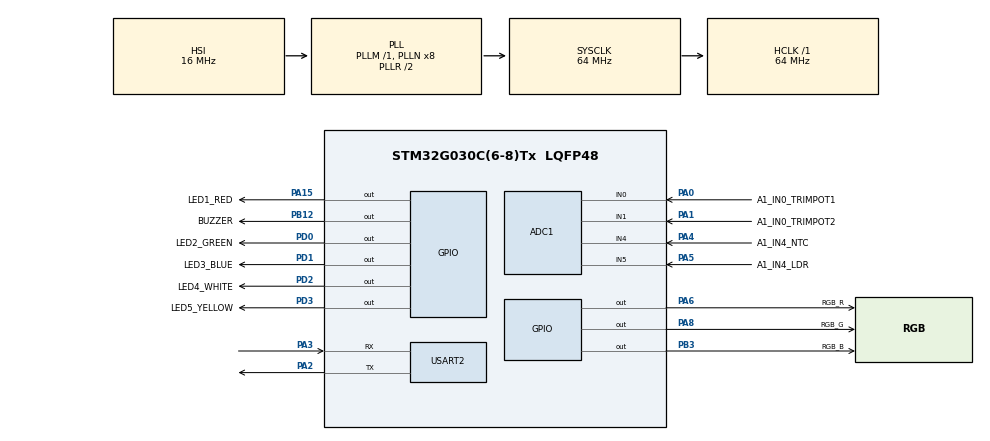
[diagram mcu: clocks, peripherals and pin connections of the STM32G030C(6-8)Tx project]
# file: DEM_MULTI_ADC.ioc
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ADC1.Channel-0\#ChannelRegularConversion=ADC_CHANNEL_0
ADC1.Channel-1\#ChannelRegularConversion=ADC_CHANNEL_1
ADC1.Channel-2\#ChannelRegularConversion=ADC_CHANNEL_4
ADC1.Channel-3\#ChannelRegularConversion=ADC_CHANNEL_5
ADC1.ClockPrescaler=ADC_CLOCK_SYNC_PCLK_DIV4
ADC1.ContinuousConvMode=DISABLE
ADC1.NbrOfConversion=4
ADC1.NbrOfConversionFlag=1
ADC1.Rank-0\#ChannelRegularConversion=1
ADC1.Rank-1\#ChannelRegularConversion=2
ADC1.Rank-2\#ChannelRegularConversion=3
ADC1.Rank-3\#ChannelRegularConversion=4
ADC1.SamplingTime-0\#ChannelRegularConversion=ADC_SAMPLINGTIME_COMMON_1
ADC1.SamplingTime-1\#ChannelRegularConversion=ADC_SAMPLINGTIME_COMMON_1
ADC1.SamplingTime-2\#ChannelRegularConversion=ADC_SAMPLINGTIME_COMMON_1
ADC1.SamplingTime-3\#ChannelRegularConversion=ADC_SAMPLINGTIME_COMMON_1
ADC1.SamplingTimeCommon1=ADC_SAMPLETIME_79CYCLES_5
ADC1.SamplingTimeCommon2=ADC_SAMPLETIME_79CYCLES_5
ADC1.SelectedChannel=ADC_CHANNEL_0|ADC_CHANNEL_1|ADC_CHANNEL_4|ADC_CHANNEL_5
ADC1.master=1
Dma.ADC1.0.Direction=DMA_PERIPH_TO_MEMORY
Dma.ADC1.0.EventEnable=DISABLE
Dma.ADC1.0.Instance=DMA1_Channel1
Dma.ADC1.0.MemDataAlignment=DMA_MDATAALIGN_HALFWORD
Dma.ADC1.0.MemInc=DMA_MINC_ENABLE
Dma.ADC1.0.Mode=DMA_NORMAL
Dma.ADC1.0.PeriphDataAlignment=DMA_PDATAALIGN_HALFWORD
Dma.ADC1.0.PeriphInc=DMA_PINC_DISABLE
Dma.ADC1.0.Polarity=HAL_DMAMUX_REQ_GEN_RISING
Dma.ADC1.0.Priority=DMA_PRIORITY_LOW
Dma.ADC1.0.RequestNumber=1
Dma.ADC1.0.SignalID=NONE
Dma.ADC1.0.SyncEnable=DISABLE
Dma.ADC1.0.SyncPolarity=HAL_DMAMUX_SYNC_NO_EVENT
Dma.ADC1.0.SyncRequestNumber=1
Dma.ADC1.0.SyncSignalID=NONE
Dma.Request0=ADC1
Mcu.Family=STM32G0
Mcu.Name=STM32G030C(6-8)Tx
Mcu.Package=LQFP48
NVIC.DMA1_Channel1_IRQn=true\:0\:0\:false\:false\:true\:false\:true\:true
PA0.GPIO_Label=A1_IN0_TRIMPOT1
PA0.Mode=IN0
PA0.Signal=ADC1_IN0
PA1.GPIO_Label=A1_IN0_TRIMPOT2
PA1.Mode=IN1
PA1.Signal=ADC1_IN1
PA13.Mode=Serial_Wire
PA13.Signal=SYS_SWDIO
PA14-BOOT0.Mode=Serial_Wire
PA14-BOOT0.Signal=SYS_SWCLK
PA15.GPIO_Label=LED1_RED
PA15.Signal=GPIO_Output
PA2.Mode=Asynchronous
PA2.Signal=USART2_TX
PA3.Mode=Asynchronous
PA3.Signal=USART2_RX
PA4.GPIO_Label=A1_IN4_NTC
PA4.Mode=IN4
PA4.Signal=ADC1_IN4
PA5.GPIO_Label=A1_IN4_LDR
PA5.Mode=IN5
PA5.Signal=ADC1_IN5
PA6.GPIO_Label=RGB_R
PA6.Signal=GPIO_Output
PA8.GPIO_Label=RGB_G
PA8.Signal=GPIO_Output
PB12.GPIO_Label=BUZZER
PB12.Signal=GPIO_Output
PB3.GPIO_Label=RGB_B
PB3.Signal=GPIO_Output
PD0.GPIO_Label=LED2_GREEN
PD0.Signal=GPIO_Output
PD1.GPIO_Label=LED3_BLUE
PD1.Signal=GPIO_Output
PD2.GPIO_Label=LED4_WHITE
PD2.Signal=GPIO_Output
PD3.GPIO_Label=LED5_YELLOW
PD3.Signal=GPIO_Output
PF0-OSC_IN\ (PF0).Mode=HSE-External-Oscillator
PF0-OSC_IN\ (PF0).Signal=RCC_OSC_IN
PF1-OSC_OUT\ (PF1).Mode=HSE-External-Oscillator
PF1-OSC_OUT\ (PF1).Signal=RCC_OSC_OUT
ProjectManager.HeapSize=0x200
ProjectManager.StackSize=0x400
ProjectManager.TargetToolchain=STM32CubeIDE
RCC.ADCFreq_Value=64000000
RCC.AHBFreq_Value=64000000
RCC.CortexFreq_Value=64000000
RCC.EXTERNAL_CLOCK_VALUE=12288000
RCC.HCLKFreq_Value=64000000
RCC.HSE_VALUE=8000000
RCC.HSI_VALUE=16000000
RCC.LSE_VALUE=32768
RCC.SYSCLKFreq_VALUE=64000000
RCC.SYSCLKSource=RCC_SYSCLKSOURCE_PLLCLK
RCC.VCOOutputFreq_Value=128000000
USART2.VirtualMode-Asynchronous=VM_ASYNC
VP_RTC_VS_RTC_Activate.Mode=RTC_Enabled
board=custom

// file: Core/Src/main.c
/* USER CODE BEGIN Header */
/**
  ******************************************************************************
  * @file           : main.c
  * @brief          : Main program body
  ******************************************************************************
  * @attention
  *
  * Copyright (c) 2025 STMicroelectronics.
  * All rights reserved.
  *
  * This software is licensed under terms that can be found in the LICENSE file
  * in the root directory of this software component.
  * If no LICENSE file comes with this software, it is provided AS-IS.
  *
  ******************************************************************************
  */
/* USER CODE END Header */
#include "main.h"

/* USER CODE BEGIN Includes */
// #include "ADC.h"
#include <math.h>
#include "stdio.h"
#include "string.h"
/* USER CODE END Includes */

/* USER CODE BEGIN PD */
//uint16_t NTC;
//uint16_t LDR;
//uint16_t TRIMPOT1;
//uint16_t TRIMPOT2;

/* USER CODE END PD */

ADC_HandleTypeDef hadc1;
DMA_HandleTypeDef hdma_adc1;

RTC_HandleTypeDef hrtc;

UART_HandleTypeDef huart2;

void SystemClock_Config(void);
static void MX_GPIO_Init(void);
static void MX_DMA_Init(void);
static void MX_RTC_Init(void);
static void MX_ADC1_Init(void);
static void MX_USART2_UART_Init(void);
/* USER CODE BEGIN PFP */
double Termistor(uint32_t analogValue)
{
double temperature;
uint32_t adcval = 4096 - analogValue;

temperature = log((adcval * 10000) / (4095 - adcval));
temperature = 1 / (0.001129148 + (0.000234125 + (0.0000000876741 * temperature * temperature)) * temperature);
temperature = temperature - 273.15;
return temperature;
}

uint16_t R_map_value(uint16_t adc_value) {
	uint16_t resistor;
	resistor = (adc_value * 10000) / 4095;
    return resistor;
}

uint16_t map_to_percentage(uint16_t adc_value) {
    return (adc_value * 100) / 4095;
}

/* USER CODE END PFP */

/* USER CODE BEGIN 0 */
uint16_t ADC_VAL[4];
uint16_t Trimpot1_Resistance_Value;
uint16_t Trimpot2_Resistance_Value;
uint16_t Temperature;
uint16_t Light_Percentage;
//__attribute__((section(".adcarray"))) uint16_t ADC_VAL[4];  // cortex M7 only
int isADCFinished = 0;
int count = 0;
char buffer[200];  // Yeterince büyük bir buffer ayır
void HAL_ADC_ConvCpltCallback(ADC_HandleTypeDef *hadc)
{
	isADCFinished = 1;
}
/* USER CODE END 0 */

int main(void)
{

  /* MCU Configuration--------------------------------------------------------*/

  /* Reset of all peripherals, Initializes the Flash interface and the Systick. */
  HAL_Init();

  /* Configure the system clock */
  SystemClock_Config();

  /* Initialize all configured peripherals */
  MX_GPIO_Init();
  MX_DMA_Init();
  MX_RTC_Init();
  MX_ADC1_Init();
  MX_USART2_UART_Init();
  /* USER CODE BEGIN 2 */
//  void ADC_System_Init(void);
  HAL_ADC_Start_DMA(&hadc1, (uint32_t*)ADC_VAL, 4);
  /* USER CODE END 2 */

  /* Infinite loop */
  while (1)
  {

  }
}

void SystemClock_Config(void)
{
  RCC_OscInitTypeDef RCC_OscInitStruct = {0};
  RCC_ClkInitTypeDef RCC_ClkInitStruct = {0};

  /** Configure the main internal regulator output voltage
  */
  HAL_PWREx_ControlVoltageScaling(PWR_REGULATOR_VOLTAGE_SCALE1);

  /** Initializes the RCC Oscillators according to the specified parameters
  * in the RCC_OscInitTypeDef structure.
  */
  RCC_OscInitStruct.OscillatorType = RCC_OSCILLATORTYPE_HSI|RCC_OSCILLATORTYPE_LSI;
  RCC_OscInitStruct.HSIState = RCC_HSI_ON;
  RCC_OscInitStruct.HSIDiv = RCC_HSI_DIV1;
  RCC_OscInitStruct.HSICalibrationValue = RCC_HSICALIBRATION_DEFAULT;
  RCC_OscInitStruct.LSIState = RCC_LSI_ON;
  RCC_OscInitStruct.PLL.PLLState = RCC_PLL_ON;
  RCC_OscInitStruct.PLL.PLLSource = RCC_PLLSOURCE_HSI;
  RCC_OscInitStruct.PLL.PLLM = RCC_PLLM_DIV1;
  RCC_OscInitStruct.PLL.PLLN = 8;
  RCC_OscInitStruct.PLL.PLLP = RCC_PLLP_DIV2;
  RCC_OscInitStruct.PLL.PLLR = RCC_PLLR_DIV2;
  if (HAL_RCC_OscConfig(&RCC_OscInitStruct) != HAL_OK)
  {
    Error_Handler();
  }

  /** Initializes the CPU, AHB and APB buses clocks
  */
  RCC_ClkInitStruct.ClockType = RCC_CLOCKTYPE_HCLK|RCC_CLOCKTYPE_SYSCLK
                              |RCC_CLOCKTYPE_PCLK1;
  RCC_ClkInitStruct.SYSCLKSource = RCC_SYSCLKSOURCE_PLLCLK;
  RCC_ClkInitStruct.AHBCLKDivider = RCC_SYSCLK_DIV1;
  RCC_ClkInitStruct.APB1CLKDivider = RCC_HCLK_DIV1;

  if (HAL_RCC_ClockConfig(&RCC_ClkInitStruct, FLASH_LATENCY_2) != HAL_OK)
  {
    Error_Handler();
  }
}

static void MX_ADC1_Init(void)
{

  ADC_ChannelConfTypeDef sConfig = {0};

  /** Configure the global features of the ADC (Clock, Resolution, Data Alignment and number of conversion)
  */
  hadc1.Instance = ADC1;
  hadc1.Init.ClockPrescaler = ADC_CLOCK_SYNC_PCLK_DIV4;
  hadc1.Init.Resolution = ADC_RESOLUTION_12B;
  hadc1.Init.DataAlign = ADC_DATAALIGN_RIGHT;
  hadc1.Init.ScanConvMode = ADC_SCAN_ENABLE;
  hadc1.Init.EOCSelection = ADC_EOC_SINGLE_CONV;
  hadc1.Init.LowPowerAutoWait = DISABLE;
  hadc1.Init.LowPowerAutoPowerOff = DISABLE;
  hadc1.Init.ContinuousConvMode = DISABLE;
  hadc1.Init.NbrOfConversion = 4;
  hadc1.Init.DiscontinuousConvMode = DISABLE;
  hadc1.Init.ExternalTrigConv = ADC_SOFTWARE_START;
  hadc1.Init.ExternalTrigConvEdge = ADC_EXTERNALTRIGCONVEDGE_NONE;
  hadc1.Init.DMAContinuousRequests = DISABLE;
  hadc1.Init.Overrun = ADC_OVR_DATA_PRESERVED;
  hadc1.Init.SamplingTimeCommon1 = ADC_SAMPLETIME_79CYCLES_5;
  hadc1.Init.SamplingTimeCommon2 = ADC_SAMPLETIME_79CYCLES_5;
  hadc1.Init.OversamplingMode = DISABLE;
  hadc1.Init.TriggerFrequencyMode = ADC_TRIGGER_FREQ_HIGH;
  if (HAL_ADC_Init(&hadc1) != HAL_OK)
  {
    Error_Handler();
  }

  /** Configure Regular Channel
  */
  sConfig.Channel = ADC_CHANNEL_0;
  sConfig.Rank = ADC_REGULAR_RANK_1;
  sConfig.SamplingTime = ADC_SAMPLINGTIME_COMMON_1;
  if (HAL_ADC_ConfigChannel(&hadc1, &sConfig) != HAL_OK)
  {
    Error_Handler();
  }

  /** Configure Regular Channel
  */
  sConfig.Channel = ADC_CHANNEL_1;
  sConfig.Rank = ADC_REGULAR_RANK_2;
  if (HAL_ADC_ConfigChannel(&hadc1, &sConfig) != HAL_OK)
  {
    Error_Handler();
  }

  /** Configure Regular Channel
  */
  sConfig.Channel = ADC_CHANNEL_4;
  sConfig.Rank = ADC_REGULAR_RANK_3;
  if (HAL_ADC_ConfigChannel(&hadc1, &sConfig) != HAL_OK)
  {
    Error_Handler();
  }

  /** Configure Regular Channel
  */
  sConfig.Channel = ADC_CHANNEL_5;
  sConfig.Rank = ADC_REGULAR_RANK_4;
  if (HAL_ADC_ConfigChannel(&hadc1, &sConfig) != HAL_OK)
  {
    Error_Handler();
  }

}

static void MX_RTC_Init(void)
{

  /** Initialize RTC Only
  */
  hrtc.Instance = RTC;
  hrtc.Init.HourFormat = RTC_HOURFORMAT_24;
  hrtc.Init.AsynchPrediv = 127;
  hrtc.Init.SynchPrediv = 255;
  hrtc.Init.OutPut = RTC_OUTPUT_DISABLE;
  hrtc.Init.OutPutRemap = RTC_OUTPUT_REMAP_NONE;
  hrtc.Init.OutPutPolarity = RTC_OUTPUT_POLARITY_HIGH;
  hrtc.Init.OutPutType = RTC_OUTPUT_TYPE_OPENDRAIN;
  hrtc.Init.OutPutPullUp = RTC_OUTPUT_PULLUP_NONE;
  if (HAL_RTC_Init(&hrtc) != HAL_OK)
  {
    Error_Handler();
  }

}

static void MX_USART2_UART_Init(void)
{

  huart2.Instance = USART2;
  huart2.Init.BaudRate = 115200;
  huart2.Init.WordLength = UART_WORDLENGTH_8B;
  huart2.Init.StopBits = UART_STOPBITS_1;
  huart2.Init.Parity = UART_PARITY_NONE;
  huart2.Init.Mode = UART_MODE_TX_RX;
  huart2.Init.HwFlowCtl = UART_HWCONTROL_NONE;
  huart2.Init.OverSampling = UART_OVERSAMPLING_16;
  huart2.Init.OneBitSampling = UART_ONE_BIT_SAMPLE_DISABLE;
  huart2.Init.ClockPrescaler = UART_PRESCALER_DIV1;
  huart2.AdvancedInit.AdvFeatureInit = UART_ADVFEATURE_NO_INIT;
  if (HAL_UART_Init(&huart2) != HAL_OK)
  {
    Error_Handler();
  }

}

static void MX_DMA_Init(void)
{

  /* DMA controller clock enable */
  __HAL_RCC_DMA1_CLK_ENABLE();

  /* DMA interrupt init */
  /* DMA1_Channel1_IRQn interrupt configuration */
  HAL_NVIC_SetPriority(DMA1_Channel1_IRQn, 0, 0);
  HAL_NVIC_EnableIRQ(DMA1_Channel1_IRQn);

}

static void MX_GPIO_Init(void)
{
  GPIO_InitTypeDef GPIO_InitStruct = {0};

  /* GPIO Ports Clock Enable */
  __HAL_RCC_GPIOF_CLK_ENABLE();
  __HAL_RCC_GPIOA_CLK_ENABLE();
  __HAL_RCC_GPIOB_CLK_ENABLE();
  __HAL_RCC_GPIOD_CLK_ENABLE();

  /*Configure GPIO pin Output Level */
  HAL_GPIO_WritePin(GPIOA, RGB_R_Pin|RGB_G_Pin|LED1_RED_Pin, GPIO_PIN_RESET);

  /*Configure GPIO pin Output Level */
  HAL_GPIO_WritePin(GPIOB, BUZZER_Pin|RGB_B_Pin, GPIO_PIN_RESET);

  /*Configure GPIO pin Output Level */
  HAL_GPIO_WritePin(GPIOD, LED2_GREEN_Pin|LED3_BLUE_Pin|LED4_WHITE_Pin|LED5_YELLOW_Pin, GPIO_PIN_RESET);

  /*Configure GPIO pins : RGB_R_Pin RGB_G_Pin LED1_RED_Pin */
  GPIO_InitStruct.Pin = RGB_R_Pin|RGB_G_Pin|LED1_RED_Pin;
  GPIO_InitStruct.Mode = GPIO_MODE_OUTPUT_PP;
  GPIO_InitStruct.Pull = GPIO_NOPULL;
  GPIO_InitStruct.Speed = GPIO_SPEED_FREQ_LOW;
  HAL_GPIO_Init(GPIOA, &GPIO_InitStruct);

  /*Configure GPIO pins : BUZZER_Pin RGB_B_Pin */
  GPIO_InitStruct.Pin = BUZZER_Pin|RGB_B_Pin;
  GPIO_InitStruct.Mode = GPIO_MODE_OUTPUT_PP;
  GPIO_InitStruct.Pull = GPIO_NOPULL;
  GPIO_InitStruct.Speed = GPIO_SPEED_FREQ_LOW;
  HAL_GPIO_Init(GPIOB, &GPIO_InitStruct);

  /*Configure GPIO pins : LED2_GREEN_Pin LED3_BLUE_Pin LED4_WHITE_Pin LED5_YELLOW_Pin */
  GPIO_InitStruct.Pin = LED2_GREEN_Pin|LED3_BLUE_Pin|LED4_WHITE_Pin|LED5_YELLOW_Pin;
  GPIO_InitStruct.Mode = GPIO_MODE_OUTPUT_PP;
  GPIO_InitStruct.Pull = GPIO_NOPULL;
  GPIO_InitStruct.Speed = GPIO_SPEED_FREQ_LOW;
  HAL_GPIO_Init(GPIOD, &GPIO_InitStruct);

}

void Error_Handler(void)
{
  __disable_irq();
  while (1)
  {
  }
}
